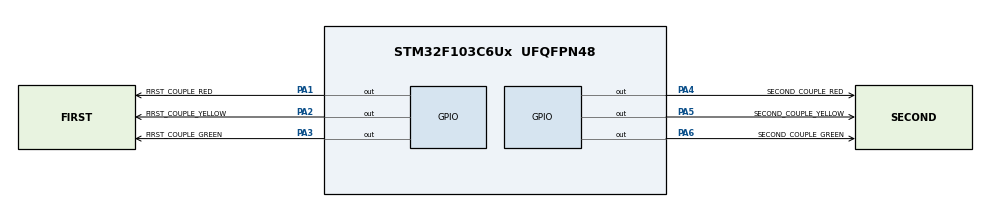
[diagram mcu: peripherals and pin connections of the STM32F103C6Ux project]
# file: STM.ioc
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Mcu.Family=STM32F1
Mcu.Name=STM32F103C6Ux
Mcu.Package=UFQFPN48
NVIC.PriorityGroup=NVIC_PRIORITYGROUP_4
PA1.GPIO_Label=FIRST_COUPLE_RED
PA1.Signal=GPIO_Output
PA2.GPIO_Label=FIRST_COUPLE_YELLOW
PA2.Signal=GPIO_Output
PA3.GPIO_Label=FIRST_COUPLE_GREEN
PA3.Signal=GPIO_Output
PA4.GPIO_Label=SECOND_COUPLE_RED
PA4.Signal=GPIO_Output
PA5.GPIO_Label=SECOND_COUPLE_YELLOW
PA5.Signal=GPIO_Output
PA6.GPIO_Label=SECOND_COUPLE_GREEN
PA6.Signal=GPIO_Output
ProjectManager.HeapSize=0x200
ProjectManager.StackSize=0x400
ProjectManager.TargetToolchain=STM32CubeIDE
RCC.APB1Freq_Value=8000000
RCC.APB2Freq_Value=8000000
VP_SYS_VS_ND.Mode=No_Debug
board=custom

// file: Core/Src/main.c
/* USER CODE BEGIN Header */
/**
  ******************************************************************************
  * @file           : main.c
  * @brief          : Main program body
  ******************************************************************************
  * @attention
  *
  * <h2><center>&copy; Copyright (c) 2022 STMicroelectronics.
  * All rights reserved.</center></h2>
  *
  * This software component is licensed by ST under BSD 3-Clause license,
  * the "License"; You may not use this file except in compliance with the
  * License. You may obtain a copy of the License at:
  *                        opensource.org/licenses/BSD-3-Clause
  *
  ******************************************************************************
  */
/* USER CODE END Header */
#include "main.h"

/* USER CODE BEGIN PTD */
enum LedState { RED_STATE , YELLOW_STATE , GREEN_STATE } ;
/* USER CODE END PTD */

/* USER CODE BEGIN PD */
#define SECOND 1000
/* USER CODE END PD */

void SystemClock_Config(void);
static void MX_GPIO_Init(void);

void displayFirstLedCouple(enum LedState state_1){
	switch(state_1){
	 case RED_STATE:
			 HAL_GPIO_WritePin( FIRST_COUPLE_GREEN_GPIO_Port , FIRST_COUPLE_GREEN_Pin , 1) ;
			 HAL_GPIO_WritePin( FIRST_COUPLE_YELLOW_GPIO_Port , FIRST_COUPLE_YELLOW_Pin , 1 ) ;
			 HAL_GPIO_WritePin( FIRST_COUPLE_RED_GPIO_Port , FIRST_COUPLE_RED_Pin , 0 ) ;
			 break;
	 case YELLOW_STATE:
			 HAL_GPIO_WritePin( FIRST_COUPLE_GREEN_GPIO_Port , FIRST_COUPLE_GREEN_Pin , 1) ;
			 HAL_GPIO_WritePin( FIRST_COUPLE_YELLOW_GPIO_Port , FIRST_COUPLE_YELLOW_Pin , 0 ) ;
			 HAL_GPIO_WritePin( FIRST_COUPLE_RED_GPIO_Port , FIRST_COUPLE_RED_Pin , 1 ) ;
			 break;
	 case GREEN_STATE:
			 HAL_GPIO_WritePin( FIRST_COUPLE_GREEN_GPIO_Port , FIRST_COUPLE_GREEN_Pin , 0) ;
			 HAL_GPIO_WritePin( FIRST_COUPLE_YELLOW_GPIO_Port , FIRST_COUPLE_YELLOW_Pin , 1 ) ;
			 HAL_GPIO_WritePin( FIRST_COUPLE_RED_GPIO_Port , FIRST_COUPLE_RED_Pin , 1 ) ;
			 break;
	 default:
		 break;
	}
}

void displaySecondLedCouple(enum LedState state_2){
	switch(state_2){
		case RED_STATE:
			HAL_GPIO_WritePin( SECOND_COUPLE_GREEN_GPIO_Port , SECOND_COUPLE_GREEN_Pin , 1) ;
			HAL_GPIO_WritePin( SECOND_COUPLE_YELLOW_GPIO_Port , SECOND_COUPLE_YELLOW_Pin , 1 ) ;
			HAL_GPIO_WritePin( SECOND_COUPLE_RED_GPIO_Port , SECOND_COUPLE_RED_Pin , 0 ) ;
			break;
		case YELLOW_STATE:
			HAL_GPIO_WritePin( SECOND_COUPLE_GREEN_GPIO_Port , SECOND_COUPLE_GREEN_Pin , 1) ;
			HAL_GPIO_WritePin( SECOND_COUPLE_YELLOW_GPIO_Port , SECOND_COUPLE_YELLOW_Pin , 0 ) ;
			HAL_GPIO_WritePin( SECOND_COUPLE_RED_GPIO_Port , SECOND_COUPLE_RED_Pin , 1 ) ;
			break;
		case GREEN_STATE:
			HAL_GPIO_WritePin( SECOND_COUPLE_GREEN_GPIO_Port , SECOND_COUPLE_GREEN_Pin , 0) ;
			HAL_GPIO_WritePin( SECOND_COUPLE_YELLOW_GPIO_Port , SECOND_COUPLE_YELLOW_Pin , 1 ) ;
			HAL_GPIO_WritePin( SECOND_COUPLE_RED_GPIO_Port , SECOND_COUPLE_RED_Pin , 1 ) ;
			break;
		default:
		  break;
   }
}

int main(void)
{

  /* MCU Configuration--------------------------------------------------------*/

  /* Reset of all peripherals, Initializes the Flash interface and the Systick. */
  HAL_Init();

  /* Configure the system clock */
  SystemClock_Config();

  /* Initialize all configured peripherals */
  MX_GPIO_Init();

  /* Infinite loop */
  /* USER CODE BEGIN WHILE */
  displayFirstLedCouple(GREEN_STATE);
  displaySecondLedCouple(RED_STATE);
  while (1)
  {
	  	  displayFirstLedCouple(YELLOW_STATE);
	  	  HAL_Delay(1*SECOND);
	  	  displayFirstLedCouple(RED_STATE);
	  	  HAL_Delay(1*SECOND);
	  	  displaySecondLedCouple(GREEN_STATE);
	  	  HAL_Delay(3*SECOND);

		  displaySecondLedCouple(YELLOW_STATE);
		  HAL_Delay(1*SECOND);
		  displaySecondLedCouple(RED_STATE);
		  HAL_Delay(1*SECOND);
		  displayFirstLedCouple(GREEN_STATE);
		  HAL_Delay(3*SECOND);
    /* USER CODE END WHILE */

  }
}

void SystemClock_Config(void)
{
  RCC_OscInitTypeDef RCC_OscInitStruct = {0};
  RCC_ClkInitTypeDef RCC_ClkInitStruct = {0};

  /** Initializes the RCC Oscillators according to the specified parameters
  * in the RCC_OscInitTypeDef structure.
  */
  RCC_OscInitStruct.OscillatorType = RCC_OSCILLATORTYPE_HSI;
  RCC_OscInitStruct.HSIState = RCC_HSI_ON;
  RCC_OscInitStruct.HSICalibrationValue = RCC_HSICALIBRATION_DEFAULT;
  RCC_OscInitStruct.PLL.PLLState = RCC_PLL_NONE;
  if (HAL_RCC_OscConfig(&RCC_OscInitStruct) != HAL_OK)
  {
    Error_Handler();
  }
  /** Initializes the CPU, AHB and APB buses clocks
  */
  RCC_ClkInitStruct.ClockType = RCC_CLOCKTYPE_HCLK|RCC_CLOCKTYPE_SYSCLK
                              |RCC_CLOCKTYPE_PCLK1|RCC_CLOCKTYPE_PCLK2;
  RCC_ClkInitStruct.SYSCLKSource = RCC_SYSCLKSOURCE_HSI;
  RCC_ClkInitStruct.AHBCLKDivider = RCC_SYSCLK_DIV1;
  RCC_ClkInitStruct.APB1CLKDivider = RCC_HCLK_DIV1;
  RCC_ClkInitStruct.APB2CLKDivider = RCC_HCLK_DIV1;

  if (HAL_RCC_ClockConfig(&RCC_ClkInitStruct, FLASH_LATENCY_0) != HAL_OK)
  {
    Error_Handler();
  }
}

static void MX_GPIO_Init(void)
{
  GPIO_InitTypeDef GPIO_InitStruct = {0};

  /* GPIO Ports Clock Enable */
  __HAL_RCC_GPIOA_CLK_ENABLE();

  /*Configure GPIO pin Output Level */
  HAL_GPIO_WritePin(GPIOA, FIRST_COUPLE_RED_Pin|FIRST_COUPLE_YELLOW_Pin|FIRST_COUPLE_GREEN_Pin|SECOND_COUPLE_RED_Pin
                          |SECOND_COUPLE_YELLOW_Pin|SECOND_COUPLE_GREEN_Pin, GPIO_PIN_RESET);

  /*Configure GPIO pins : FIRST_COUPLE_RED_Pin FIRST_COUPLE_YELLOW_Pin FIRST_COUPLE_GREEN_Pin SECOND_COUPLE_RED_Pin
                           SECOND_COUPLE_YELLOW_Pin SECOND_COUPLE_GREEN_Pin */
  GPIO_InitStruct.Pin = FIRST_COUPLE_RED_Pin|FIRST_COUPLE_YELLOW_Pin|FIRST_COUPLE_GREEN_Pin|SECOND_COUPLE_RED_Pin
                          |SECOND_COUPLE_YELLOW_Pin|SECOND_COUPLE_GREEN_Pin;
  GPIO_InitStruct.Mode = GPIO_MODE_OUTPUT_PP;
  GPIO_InitStruct.Pull = GPIO_NOPULL;
  GPIO_InitStruct.Speed = GPIO_SPEED_FREQ_LOW;
  HAL_GPIO_Init(GPIOA, &GPIO_InitStruct);

}

void Error_Handler(void)
{
  __disable_irq();
  while (1)
  {
  }
}

/************************ (C) COPYRIGHT STMicroelectronics *****END OF FILE****/
